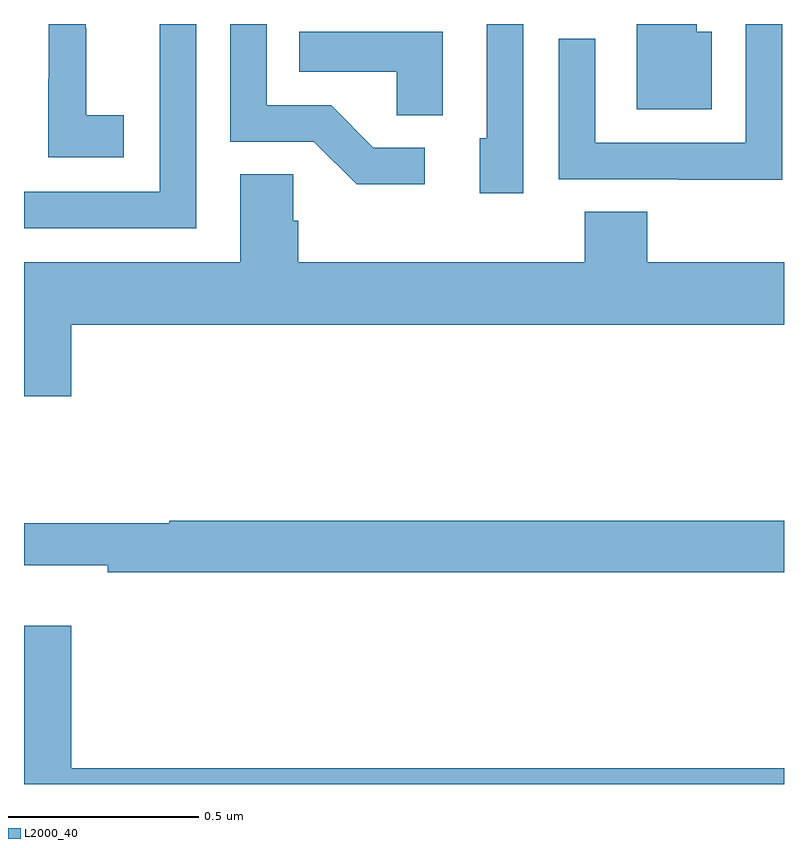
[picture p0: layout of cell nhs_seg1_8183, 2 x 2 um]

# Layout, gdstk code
import gdstk
lib = gdstk.Library(unit=1e-6, precision=1e-09)
def P(c, l, *ps):  # polygons
    for p in ps: c.add(gdstk.Polygon(p, *l))
L2000_40 = (2000, 40)

nhs_seg1_8183 = lib.new_cell('nhs_seg1_8183')
P(nhs_seg1_8183, L2000_40, [(213.453,543.199),(213.357,543.199),(213.357,542.757),(213,542.757),(213,542.661),(213.453,542.661)],
  [(214.314,543.199),(214.218,543.199),(214.218,542.898),(214.199,542.898),(214.199,542.754),(214.314,542.754)],
  [(214.81,543.178),(214.771,543.178),(214.771,543.199),(214.613,543.199),(214.613,542.975),(214.81,542.975)],
  [(213.262,542.959),(213.164,542.959),(213.164,543.188),(213.162,543.188),(213.162,543.199),(213.065,543.199),(213.065,543.055),(213.064,543.055),(213.064,542.849),(213.262,542.849)],
  [(214.995,543.199),(214.899,543.199),(214.899,542.886),(214.503,542.886),(214.503,543.16),(214.407,543.16),(214.407,542.79),(214.723,542.79),(214.723,542.789),(214.995,542.789)],
  [(214.054,542.874),(213.919,542.874),(213.808,542.985),(213.639,542.985),(213.639,543.199),(213.543,543.199),(213.543,542.889),(213.762,542.889),(213.875,542.777),(214.054,542.777)],
  [(214.102,543.178),(213.724,543.178),(213.724,543.074),(213.981,543.074),(213.981,542.959),(214.102,542.959)],
  [(213.124,542.408),(215,542.408),(215,542.572),(214.64,542.572),(214.64,542.705),(214.475,542.705),(214.475,542.572),(213.722,542.572),(213.722,542.681),(213.708,542.681),(213.708,542.804),(213.569,542.804),(213.569,542.572),(213,542.572),(213,542.22),(213.124,542.22)],
  [(215,541.892),(213.382,541.892),(213.382,541.885),(213,541.885),(213,541.775),(213.22,541.775),(213.22,541.756),(215,541.756)],
  [(215,541.24),(213.124,541.24),(213.124,541.615),(213,541.615),(213,541.199),(215,541.199)])

lib.write_gds('nhs_seg1_8183.gds')
